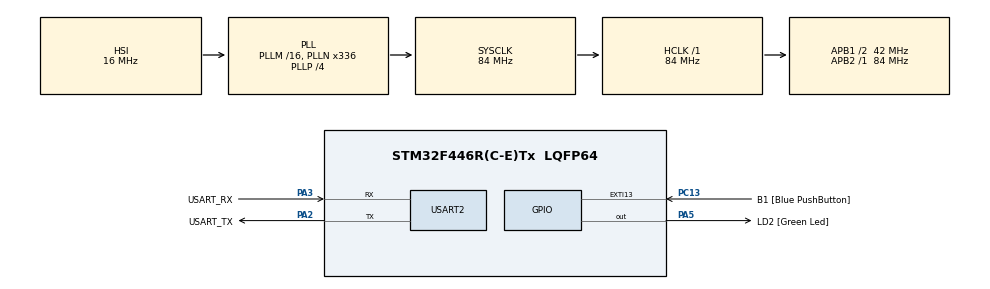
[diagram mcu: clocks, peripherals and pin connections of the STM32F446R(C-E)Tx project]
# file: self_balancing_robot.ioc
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Mcu.Family=STM32F4
Mcu.Name=STM32F446R(C-E)Tx
Mcu.Package=LQFP64
NVIC.PriorityGroup=NVIC_PRIORITYGROUP_0
PA13.GPIO_Label=TMS
PA13.Mode=Serial_Wire
PA13.Signal=SYS_JTMS-SWDIO
PA14.GPIO_Label=TCK
PA14.Mode=Serial_Wire
PA14.Signal=SYS_JTCK-SWCLK
PA2.GPIO_Label=USART_TX
PA2.Mode=Asynchronous
PA2.Signal=USART2_TX
PA3.GPIO_Label=USART_RX
PA3.Mode=Asynchronous
PA3.Signal=USART2_RX
PA5.GPIO_Label=LD2 [Green Led]
PA5.Signal=GPIO_Output
PB3.GPIO_Label=SWO
PB3.Signal=SYS_JTDO-SWO
PC13.GPIO_Label=B1 [Blue PushButton]
PC13.GPIO_ModeDefaultEXTI=GPIO_MODE_IT_FALLING
PC13.Signal=GPXTI13
PC14-OSC32_IN.Mode=LSE-External-Oscillator
PC14-OSC32_IN.Signal=RCC_OSC32_IN
PC15-OSC32_OUT.Mode=LSE-External-Oscillator
PC15-OSC32_OUT.Signal=RCC_OSC32_OUT
PH0-OSC_IN.Mode=HSE-External-Oscillator
PH0-OSC_IN.Signal=RCC_OSC_IN
PH1-OSC_OUT.Mode=HSE-External-Oscillator
PH1-OSC_OUT.Signal=RCC_OSC_OUT
ProjectManager.HeapSize=0x200
ProjectManager.StackSize=0x400
ProjectManager.TargetToolchain=STM32CubeIDE
RCC.48MHZClocksFreq_Value=84000000
RCC.AHBFreq_Value=84000000
RCC.APB1CLKDivider=RCC_HCLK_DIV2
RCC.APB1Freq_Value=42000000
RCC.APB1TimFreq_Value=84000000
RCC.APB2Freq_Value=84000000
RCC.APB2TimFreq_Value=84000000
RCC.CortexFreq_Value=84000000
RCC.FLatency-AdvancedSettings=FLASH_LATENCY_2
RCC.HCLKFreq_Value=84000000
RCC.HSE_VALUE=8000000
RCC.HSI_VALUE=16000000
RCC.PLLN=336
RCC.PLLP=RCC_PLLP_DIV4
RCC.SYSCLKFreq_VALUE=84000000
RCC.SYSCLKSource=RCC_SYSCLKSOURCE_PLLCLK
RCC.USBFreq_Value=168000000
RCC.VCOOutputFreq_Value=336000000
USART2.VirtualMode=VM_ASYNC
board=NUCLEO-F446RE

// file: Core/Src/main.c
/* USER CODE BEGIN Header */
/**
  ******************************************************************************
  * @file           : main.c
  * @brief          : Main program body
  ******************************************************************************
  * @attention
  *
  * Copyright (c) 2025 STMicroelectronics.
  * All rights reserved.
  *
  * This software is licensed under terms that can be found in the LICENSE file
  * in the root directory of this software component.
  * If no LICENSE file comes with this software, it is provided AS-IS.
  *
  ******************************************************************************
  */
/* USER CODE END Header */
#include "main.h"
#include "usart.h"
#include "gpio.h"

/* USER CODE BEGIN Includes */
#include "mpu_6050.h"
#include "math.h"
#include "kalman_filter.h"
#include "pid.h"
/* USER CODE END Includes */

/* USER CODE BEGIN PV */
extern float Ax;
extern float Ay;
extern float Az;

extern float Gx;
extern float Gy;
extern float Gz;

extern float Gx_offset;
extern float Gy_offset;
extern float Gz_offset;

float Accel_pitch = 0.0f;
float Accel_roll = 0.0f;

float Gyro_pitch = 0.0f;
float Gyro_roll = 0.0f;

// uint32_t prev_time = 0;

float alpha = 0.98f;

float Comp_pitch = 0.0f;
float Comp_roll = 0.0f;

Kalman_t pitchKalman;

float Kalman_pitch = 0.0f;

PIDcontroller pid;

// pid parameters
float kp = 40.0f;
float ki = 70.0f;
float kd = 0.5f;
float dt = 0.005f;				// 200 Hz sampling

volatile uint8_t do_control = 0;

float pid_output = 0.0f;
int dir = 0;
float duty = 0.0f;

int counter = 0;
/* USER CODE END PV */

void SystemClock_Config(void);

/* USER CODE BEGIN 0 */

// timer 3 for both motors, channel 1 for motor 1, channel 2 for motor 2
void TIM3_PWM_setup() {
	/* GPIO SetUp (PA6 -> TIM3_CH1, PA7 -> TIM3_CH2) */
	RCC->AHB1ENR |= (1 << RCC_AHB1ENR_GPIOAEN_Pos);		// Enable GPIO6

	// PA6 -> CH1
	GPIOA->MODER |= (2 << 12); 							// Alternate function mode PA6
	GPIOA->AFR[0] |= (2 << 24); 						// Alternate function n2 for PA6 (TIM3 CH1)
	GPIOA->OSPEEDR 	|= (3 << 12);  						// High Speed for PIN PA6
	GPIOA->PUPDR |= (2 << 12);							// Pull Down for PA6

	// PA7 -> CH2
	GPIOA->MODER |= (2 << 14); 							// Alternate function mode PA7
	GPIOA->AFR[0] |= (2 << 28); 						// Alternate function n2 for PA7 (TIM3 CH2)
	GPIOA->OSPEEDR 	|= (3 << 14);  						// High Speed for PIN PA7
	GPIOA->PUPDR |= (2 << 14);							// Pull Down for PA7

	/* TIM3 SetUp */
	RCC->APB1ENR |= (1 << RCC_APB1ENR_TIM3EN_Pos); 		// Clock to TIM3

	/* TIM3 Base Config */
	TIM3->CR1 &= ~(1 << TIM_CR1_UDIS_Pos); 				// Update event enabled
	TIM3->CR1 &= ~(1 << TIM_CR1_URS_Pos);				// Update event generated by any source
	TIM3->CR1 &= (1 << TIM_CR1_DIR_Pos); 				// Upcounting direction
	TIM3->CR1 &= (0x03 << TIM_CR1_CMS_Pos); 			// (00) Edge aligned mode
	TIM3->CR1 |= (1 << TIM_CR1_ARPE_Pos); 				// Auto reload preload enabled

	/* Channel 1 - PA6 / CH1 Config */
	TIM3->CCMR1 &= ~(0x03 << TIM_CCMR1_CC1S_Pos); 		// TIM3_CH1 configured as output
	TIM3->CCMR1 |= (1 << TIM_CCMR1_OC1PE_Pos); 			// Preload CCR1 register as well
	TIM3->CCMR1 |= (0x6 << TIM_CCMR1_OC1M_Pos); 		// PWM Mode 1
	TIM3->CCER |= (1 << TIM_CCER_CC1E_Pos); 			// Enable output channel 1
	TIM3->CCER &= ~(1 << TIM_CCER_CC1P_Pos); 			// Active high

	/* Channel 2 - PA7 / CH2 Config */
	TIM3->CCMR1 &= ~(0x03 << TIM_CCMR1_CC2S_Pos); 		// TIM3_CH2 configured as output
	TIM3->CCMR1 |= (1 << TIM_CCMR1_OC2PE_Pos); 			// Preload CCR2 register as well
	TIM3->CCMR1 |= (0x6 << TIM_CCMR1_OC2M_Pos); 		// PWM Mode 1
	TIM3->CCER |= (1 << TIM_CCER_CC2E_Pos); 			// Enable output channel 2
	TIM3->CCER &= ~(1 << TIM_CCER_CC2P_Pos); 			// Active high

	/* Pre-scaler and auto-reload */
	TIM3->PSC = 84 - 1; 								// CNT incremented every ms
	TIM3->ARR = 200 - 1; 								// Update event every seconds

	/* Initial duty cycles */
	TIM3->CCR1 = 500 - 1;								// 50% duty cycle on channel 1
	TIM3->CCR2 = 500 - 1;								// 50% duty cycle on channel 2

	TIM3->EGR |= (1 << TIM_EGR_UG_Pos); 				// Fire an update event to update shadow registers
}

// Setup function for gpio pins to control motor direction
void Motor_GPIO_dir_setup(){
	/* PC0-PC3 for controlling direction pins */
	// PC0->IN1, PC1->IN2, PC2->IN3, PC3->IN4
	RCC->AHB1ENR |= (1 << RCC_AHB1ENR_GPIOCEN_Pos);		// enable gpioc

	/* set to general purpose output */
	GPIOC->MODER &= ~(3 << 0);							// clear PC0
	GPIOC->MODER |= (1 << 0);							// set PC0 output

	GPIOC->MODER &= ~(3 << 2);							// clear PC1
	GPIOC->MODER |= (1 << 2);							// set PC1 output

	GPIOC->MODER &= ~(3 << 4);							// clear PC2
	GPIOC->MODER |= (1 << 4);							// set PC2 output

	GPIOC->MODER &= ~(3 << 6);							// clear PC3
	GPIOC->MODER |= (1 << 6);							// set PC3 output

	/* set output type to push-pull */
	GPIOC->OTYPER &= ~(1 << 0);							// clear OT0
	GPIOC->OTYPER &= ~(1 << 1);							// clear OT1
	GPIOC->OTYPER &= ~(1 << 2);							// clear OT2
	GPIOC->OTYPER &= ~(1 << 3);							// clear OT3

	/* set output speed to high (11) */
	GPIOC->OSPEEDR |= (3 << 0);							// PC0
	GPIOC->OSPEEDR |= (3 << 2);							// PC1
	GPIOC->OSPEEDR |= (3 << 4);							// PC2
	GPIOC->OSPEEDR |= (3 << 6);							// PC3

	/* set pull-up/pull-down to no pu/pd (00) */
	GPIOC->PUPDR &= ~(3 << 0);							// clear PC0
	GPIOC->PUPDR &= ~(3 << 2);							// clear PC1
	GPIOC->PUPDR &= ~(3 << 4);							// clear PC2
	GPIOC->PUPDR &= ~(3 << 6);							// clear PC3
}

// function for setting the motor direction during runtime
// 1 =
void set_robot_dir(int dir){
	if (dir < 0){
		// robot is tilting to left, so need to counteract by driving both wheels to the left
		// Motor 1 forward, Motor 2 reverse
		// M1: IN1 = 0, IN2 = 1 -> forward
		// M2: IN3 = 1, IN4 = 0 -> reverse
		GPIOC->ODR &= ~(1 << 0);		// PC0 = 0
		GPIOC->ODR |= (1 << 1);			// PC1 = 1
		GPIOC->ODR |= (1 << 2);			// PC2 = 1
		GPIOC->ODR &= ~(1 << 3);		// PC3 = 0
	} else if (dir > 0){
		// robot is tilting to right, so need to counteract by driving both wheels to the right
		// Motor 1 reverse, Motor 2 forward
		// M1: IN1 = 1, IN2 = 0 -> reverse
		// M2: IN3 = 0, IN4 = 1 -> forward
		GPIOC->ODR |= (1 << 0);			// PC0 = 1
		GPIOC->ODR &= ~(1 << 1);		// PC1 = 0
		GPIOC->ODR &= ~(1 << 2);		// PC2 = 0
		GPIOC->ODR |= (1 << 3);			// PC3 = 1
	}
}

/* Timer 6 for creating an interrupt every 5 ms (200 Hz) for the sensor sampling and pid calculation */
void TIM6_basic_setup() {

	RCC->APB1ENR |= (1 << RCC_APB1ENR_TIM6EN_Pos); 		// Clock to TIM6

	TIM6->CR1 &= ~(1 << TIM_CR1_UDIS_Pos); 				// Update event enable
	TIM6->CR1 |= (1 << TIM_CR1_URS_Pos);				// Update event generated only by overflow/underflow
	TIM6->CR1 |= (1 << TIM_CR1_ARPE_Pos); 				// Auto reload preload enabled

	TIM6->PSC = 84 - 1; 						    	// CLock divided by 84 - 1 microsecond per tick
	TIM6->ARR = 5000 - 1; 								// Update event every 5 ms (200 Hz)

	TIM6->DIER |= (1 << TIM_DIER_UIE_Pos); 				// Trigger an interrupt every update event

	TIM3->EGR |= (1 << TIM_EGR_UG_Pos); 				// Fire an update event to update shadow registers

	NVIC_EnableIRQ(TIM6_DAC_IRQn);						// Enable interrupt for TIM6
	NVIC_SetPriority(TIM6_DAC_IRQn, 0); 				// Set Priority
}

/* Interrupt every 5 ms to do the measurement and pid calculation */
void TIM6_DAC_IRQHandler() {
	if((TIM6->SR >> TIM_SR_UIF_Pos) & 0x01) {
		//NVIC_ClearPendingIRQ(TIM6_DAC_IRQn);
		TIM6->SR &= ~(1 << TIM_SR_UIF_Pos); 		// clear interrupt flag
		do_control = 1;
	}
}
/* USER CODE END 0 */

int main(void)
{

  /* MCU Configuration--------------------------------------------------------*/

  /* Reset of all peripherals, Initializes the Flash interface and the Systick. */
  HAL_Init();

  /* Configure the system clock */
  SystemClock_Config();

  /* Initialize all configured peripherals */
  MX_GPIO_Init();
  MX_USART2_UART_Init();
  /* USER CODE BEGIN 2 */
  // Reset I2C1 peripheral
//  RCC->APB1RSTR |=  (1 << 21);   // Set I2C1RST bit
//  for (volatile int i = 0; i < 100; i++); // short delay (not always needed)
//  RCC->APB1RSTR &= ~(1 << 21);   // Clear I2C1RST bit

  MPU6050_Init();
  Kalman_Init(&pitchKalman);
  PID_Init(&pid, kp, ki, kd, dt);
  TIM3_PWM_setup();
  Motor_GPIO_dir_setup();
  TIM6_basic_setup();

  MPU6050_Calc_Offset();

  //prev_time = HAL_GetTick();

  /* USER CODE END 2 */

  /* Infinite loop */
  /* USER CODE BEGIN WHILE */
  TIM6->CR1 |= (1 << TIM_CR1_CEN_Pos);		// enable timer6 for sampling interrupt
  TIM3->CR1 |= (1 << TIM_CR1_CEN_Pos);		// enable timer3 for pwm
  while (1)
  {
    /* USER CODE END WHILE */

    /* USER CODE BEGIN 3 */
	  if (do_control){
		  do_control = 0;

		  MPU6050_Read_Accel();
		  Accel_pitch = atan2f(Ax, sqrtf(Ay*Ay + Az*Az)) * 180.0f / M_PI;
		  Accel_roll = atan2f(Ay, sqrtf(Ax*Ax + Az*Az)) * 180.0f / M_PI;

		  MPU6050_Read_Gyro();
		  Gx = Gx - Gx_offset;
		  Gy = Gy - Gy_offset;
		  Gyro_pitch = Gyro_pitch + Gy * dt;
		  Gyro_roll = Gyro_roll + Gx * dt;

		  Comp_pitch = alpha * Gyro_pitch + (1 - alpha) * Accel_pitch;
		  Comp_roll = alpha * Gyro_roll + (1 - alpha) * Accel_roll;

		  Kalman_pitch = Kalman_GetAngle(&pitchKalman, Accel_pitch, Gy, dt);
//		  Kalman_pitch = 0.0f;

		  pid_output = PID_Compute(&pid, 0.0f, Kalman_pitch);

		  if (pid_output > 0) dir = 1;
		  if (pid_output < 0) dir = -1;

		  set_robot_dir(dir);

		  duty = fabsf(pid_output);
		  if (duty > 1000.0f) duty = 1000.0f;
		  if (duty < 150.0f) duty = 0.0f;

		  TIM3->CCR1 = duty;
		  TIM3->CCR2 = duty;

		  counter += 1;
	  }

//	  char buffer[100];
//	  //snprintf(buffer, sizeof(buffer), "%.2f,%.2f,%.2f\r\n", Accel_pitch, Gyro_pitch, Kalman_pitch);
//	  printf("accel: %.2f\tgyro: %.2f\tkalman: %.2f\r\n", Accel_pitch, Gyro_pitch, Kalman_pitch);
//	  printf("Angle: %.2f\n", Kalman_pitch);
//	  HAL_UART_Transmit(&huart2, (uint8_t*)buffer, strlen(buffer), HAL_MAX_DELAY);

//	  HAL_Delay(5);
  }
  /* USER CODE END 3 */
}

void SystemClock_Config(void)
{
  RCC_OscInitTypeDef RCC_OscInitStruct = {0};
  RCC_ClkInitTypeDef RCC_ClkInitStruct = {0};

  /** Configure the main internal regulator output voltage
  */
  __HAL_RCC_PWR_CLK_ENABLE();
  __HAL_PWR_VOLTAGESCALING_CONFIG(PWR_REGULATOR_VOLTAGE_SCALE3);

  /** Initializes the RCC Oscillators according to the specified parameters
  * in the RCC_OscInitTypeDef structure.
  */
  RCC_OscInitStruct.OscillatorType = RCC_OSCILLATORTYPE_HSI;
  RCC_OscInitStruct.HSIState = RCC_HSI_ON;
  RCC_OscInitStruct.HSICalibrationValue = RCC_HSICALIBRATION_DEFAULT;
  RCC_OscInitStruct.PLL.PLLState = RCC_PLL_ON;
  RCC_OscInitStruct.PLL.PLLSource = RCC_PLLSOURCE_HSI;
  RCC_OscInitStruct.PLL.PLLM = 16;
  RCC_OscInitStruct.PLL.PLLN = 336;
  RCC_OscInitStruct.PLL.PLLP = RCC_PLLP_DIV4;
  RCC_OscInitStruct.PLL.PLLQ = 2;
  RCC_OscInitStruct.PLL.PLLR = 2;
  if (HAL_RCC_OscConfig(&RCC_OscInitStruct) != HAL_OK)
  {
    Error_Handler();
  }

  /** Initializes the CPU, AHB and APB buses clocks
  */
  RCC_ClkInitStruct.ClockType = RCC_CLOCKTYPE_HCLK|RCC_CLOCKTYPE_SYSCLK
                              |RCC_CLOCKTYPE_PCLK1|RCC_CLOCKTYPE_PCLK2;
  RCC_ClkInitStruct.SYSCLKSource = RCC_SYSCLKSOURCE_PLLCLK;
  RCC_ClkInitStruct.AHBCLKDivider = RCC_SYSCLK_DIV1;
  RCC_ClkInitStruct.APB1CLKDivider = RCC_HCLK_DIV2;
  RCC_ClkInitStruct.APB2CLKDivider = RCC_HCLK_DIV1;

  if (HAL_RCC_ClockConfig(&RCC_ClkInitStruct, FLASH_LATENCY_2) != HAL_OK)
  {
    Error_Handler();
  }
}

void Error_Handler(void)
{
  __disable_irq();
  while (1)
  {
  }
}
